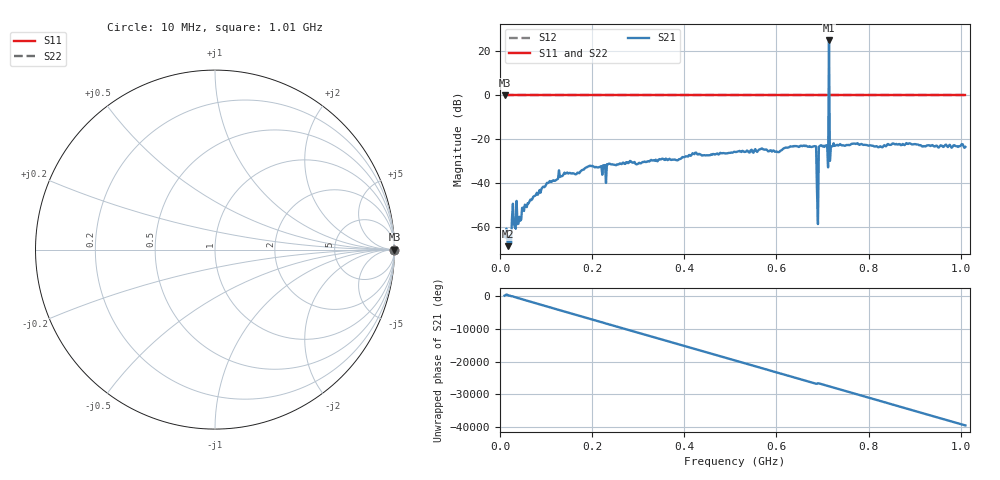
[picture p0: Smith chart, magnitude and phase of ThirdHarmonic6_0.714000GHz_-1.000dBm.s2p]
! 8/15/2025 11:52:41 PM
! C:\ANRITSUVNA\TEMP\TEMP.S2P
! CHANNEL.1
! TR.MEASUREMENT
! RAW.DATA
! RF.CORRECTION.OFF
! AVERAGING.OFF
! IF.BANDWIDTH: 5KHZ
! SWEEPTYPE:  FREQ.SWEEP(Linear)
! Reference Plane Port Info
! PORT:  PORT1  PORT2
! DISTANCE:  0  m  0  m
! TIME:  0  s  0  s
! PHASE.OFFSET:  0  deg.  0  deg.
! LOSS:  0  dB  0  dB
! REF.LOSS:  0  dB  0  dB
! REF.FREQ:  0  Hz  0  Hz
! Power Info
! POWER:  -20  dBm  -20  dBm
! EFF.POWER:  -20  dBm  -20  dBm
! SOURCE.ATTEN:  0  dB  0  dB
! TEST.ATTEN:  0  dB  0  dB
# GHZ S RI R 50.0
! FREQ.GHZ  S11RE  S11IM  S21RE  S21IM  S12RE  S12IM  S22RE  S22IM
!; PortSelection: Port_12
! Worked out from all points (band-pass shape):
!   501 points, 10 MHz to 1.01 GHz, reference 50 ohm
!   highest |S21| = 24.83 dB at 714 MHz (marker M1); lowest = -68.6 dB at 18 MHz (marker M2)
!   |S21| within 3 dB of the highest: 713.8959 MHz to 714.1097 MHz (213.8 kHz wide, 0.0299 % of centre)
!   lowest |S11| = 0.0 dB at 10 MHz (marker M3)
!   |S11| at or under -10 dB: nowhere
!   |S22| runs from 0.0 to 0.0 dB; largest |S21 - S12| = 18
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0.01  1 0  -0.000212 0.000645  1 0  1 0
0.018  1 0  -0.000366 -5.88e-05  1 0  1 0
0.02  1 0  -0.000152 0.000617  1 0  1 0
0.032  1 0  0.000988 0.000266  1 0  1 0
0.042  1 0  0.00131 -0.00112  1 0  1 0
0.052  1 0  -0.000281 -0.00232  1 0  1 0
0.104  1 0  0.00527 -0.00861  1 0  1 0
0.178  1 0  -0.0198 -0.00113  1 0  1 0
0.344  1 0  0.0304 -0.0157  1 0  1 0
0.51  1 0  -0.0314 0.0405  1 0  1 0
0.678  1 0  -0.0649 -0.0173  1 0  1 0
0.682  1 0  0.0581 0.0379  1 0  1 0
0.686  1 0  -0.0436 -0.0531  1 0  1 0
0.692  1 0  0.0651 -0.017  1 0  1 0
0.696  1 0  -0.0715 -0.0102  1 0  1 0
0.708  1 0  0.0333 0.0615  1 0  1 0
0.71  1 0  0.0681 -0.0257  1 0  1 0
0.714  1 0  -16.25 -6.328  1 0  1 0
0.718  1 0  0.061 0.0219  1 0  1 0
0.72  1 0  0.0334 -0.0598  1 0  1 0
0.844  1 0  0.0673 -0.0335  1 0  1 0
1.01  1 0  -0.0267 0.0611  1 0  1 0
